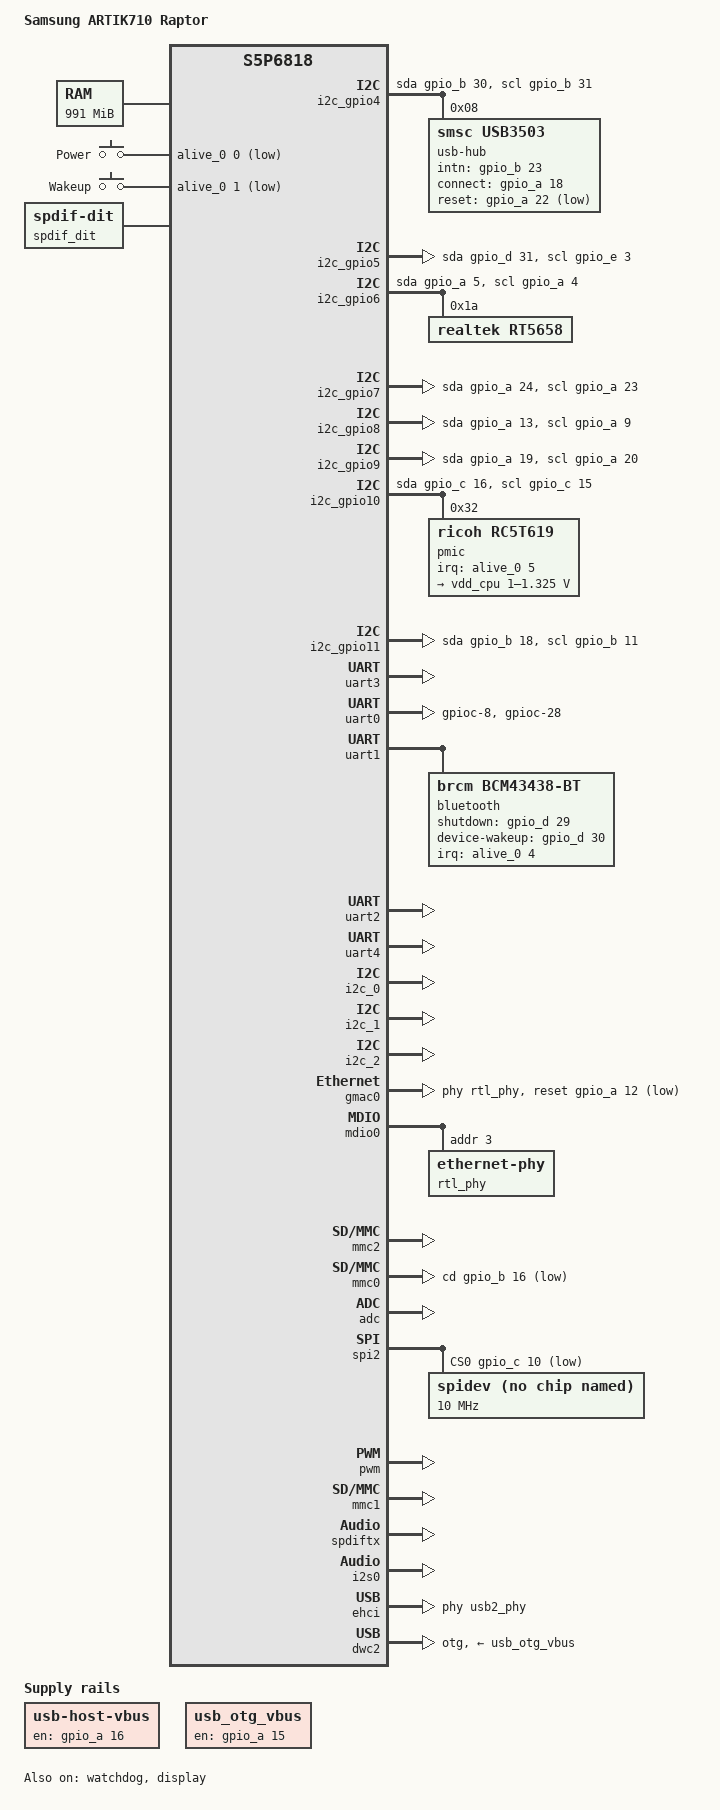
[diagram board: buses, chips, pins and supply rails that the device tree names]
// SPDX-License-Identifier: GPL-2.0
/*
 * Samsung ARTIK710 module on the Raptor carrier (ARTIK 710 developer kit).
 *
 * Module: Nexell S5P6818, 1 GiB RAM, 4 GB eMMC, BCM43455 WiFi/BT, EM358x
 * Zigbee, NXE2000 PMIC. Stock boot chain: bl1, ATF BL31 (PSCI), U-Boot 2016.01.
 */

/dts-v1/;

/* OP-TEE shared memory; inside the range U-Boot reports as RAM. */
/memreserve/ 0x7de00000 0x00100000;

#include <dt-bindings/input/input.h>
#include <dt-bindings/thermal/thermal.h>
#include "s5p6818.dtsi"

/ {
	model = "Samsung ARTIK710 Raptor";
	compatible = "samsung,artik710-raptor", "samsung,artik710",
		     "nexell,s5p6818";

	aliases {
		serial0 = &uart0;	/* Zigbee */
		serial1 = &uart1;	/* Bluetooth */
		serial2 = &uart2;
		serial3 = &uart3;	/* debug console */
		serial4 = &uart4;
		/* U-Boot writes the factory MAC (env ethaddr) into this node. */
		ethernet0 = &gmac0;
		/* Numbered as in the stock system: eMMC, SD slot, WiFi. */
		mmc0 = &mmc2;
		mmc1 = &mmc0;
		mmc2 = &mmc1;
		/* Also as in the stock system, which has no bus 3. */
		/* SPI2 is the one on the header: /dev/spidev2.0 as before */
		spi0 = &spi0;
		spi1 = &spi1;
		spi2 = &spi2;
		i2c0 = &i2c_0;
		i2c1 = &i2c_1;
		i2c2 = &i2c_2;
		i2c4 = &i2c_gpio4;
		i2c5 = &i2c_gpio5;
		i2c6 = &i2c_gpio6;
		i2c7 = &i2c_gpio7;
		i2c8 = &i2c_gpio8;
		i2c9 = &i2c_gpio9;
		i2c10 = &i2c_gpio10;
		i2c11 = &i2c_gpio11;
	};

	chosen {
		stdout-path = "serial3:115200n8";
	};

	memory@40000000 {
		device_type = "memory";
		reg = <0x0 0x40000000 0x0 0x3df00000>;
	};

	/*
	 * The CPU frequencies and voltages of the stock kernel. A chip has a
	 * level from 0 to 4 in its fuses, and the higher the level, the less
	 * voltage it needs: opp-microvolt is for level 0, opp-microvolt-asvN
	 * for level N. The driver s5p6818-cpufreq reads the level.
	 */
	cpu_opp_table: opp-table-cpu {
		compatible = "operating-points-v2";
		opp-shared;

		opp-400000000 {
			opp-hz = /bits/ 64 <400000000>;
			opp-microvolt = <1000000>;
			opp-microvolt-asv1 = <1000000>;
			opp-microvolt-asv2 = <1000000>;
			opp-microvolt-asv3 = <1000000>;
			opp-microvolt-asv4 = <1000000>;
			clock-latency-ns = <100000>;
		};

		opp-500000000 {
			opp-hz = /bits/ 64 <500000000>;
			opp-microvolt = <1025000>;
			opp-microvolt-asv1 = <1000000>;
			opp-microvolt-asv2 = <1000000>;
			opp-microvolt-asv3 = <1000000>;
			opp-microvolt-asv4 = <1000000>;
			clock-latency-ns = <100000>;
		};

		opp-600000000 {
			opp-hz = /bits/ 64 <600000000>;
			opp-microvolt = <1050000>;
			opp-microvolt-asv1 = <1000000>;
			opp-microvolt-asv2 = <1000000>;
			opp-microvolt-asv3 = <1000000>;
			opp-microvolt-asv4 = <1000000>;
			clock-latency-ns = <100000>;
		};

		opp-700000000 {
			opp-hz = /bits/ 64 <700000000>;
			opp-microvolt = <1075000>;
			opp-microvolt-asv1 = <1025000>;
			opp-microvolt-asv2 = <1000000>;
			opp-microvolt-asv3 = <1000000>;
			opp-microvolt-asv4 = <1000000>;
			clock-latency-ns = <100000>;
		};

		opp-800000000 {
			opp-hz = /bits/ 64 <800000000>;
			opp-microvolt = <1100000>;
			opp-microvolt-asv1 = <1050000>;
			opp-microvolt-asv2 = <1000000>;
			opp-microvolt-asv3 = <1000000>;
			opp-microvolt-asv4 = <1000000>;
			clock-latency-ns = <100000>;
			/* The boot loader runs at this one: set for a restart. */
			opp-suspend;
		};

		opp-900000000 {
			opp-hz = /bits/ 64 <900000000>;
			opp-microvolt = <1125000>;
			opp-microvolt-asv1 = <1075000>;
			opp-microvolt-asv2 = <1025000>;
			opp-microvolt-asv3 = <1000000>;
			opp-microvolt-asv4 = <1000000>;
			clock-latency-ns = <100000>;
		};

		opp-1000000000 {
			opp-hz = /bits/ 64 <1000000000>;
			opp-microvolt = <1150000>;
			opp-microvolt-asv1 = <1100000>;
			opp-microvolt-asv2 = <1050000>;
			opp-microvolt-asv3 = <1025000>;
			opp-microvolt-asv4 = <1000000>;
			clock-latency-ns = <100000>;
		};

		opp-1100000000 {
			opp-hz = /bits/ 64 <1100000000>;
			opp-microvolt = <1175000>;
			opp-microvolt-asv1 = <1125000>;
			opp-microvolt-asv2 = <1075000>;
			opp-microvolt-asv3 = <1050000>;
			opp-microvolt-asv4 = <1000000>;
			clock-latency-ns = <100000>;
		};

		opp-1200000000 {
			opp-hz = /bits/ 64 <1200000000>;
			opp-microvolt = <1225000>;
			opp-microvolt-asv1 = <1175000>;
			opp-microvolt-asv2 = <1125000>;
			opp-microvolt-asv3 = <1075000>;
			opp-microvolt-asv4 = <1025000>;
			clock-latency-ns = <100000>;
		};

		opp-1300000000 {
			opp-hz = /bits/ 64 <1300000000>;
			opp-microvolt = <1275000>;
			opp-microvolt-asv1 = <1225000>;
			opp-microvolt-asv2 = <1175000>;
			opp-microvolt-asv3 = <1125000>;
			opp-microvolt-asv4 = <1075000>;
			clock-latency-ns = <100000>;
		};

		opp-1400000000 {
			opp-hz = /bits/ 64 <1400000000>;
			opp-microvolt = <1325000>;
			opp-microvolt-asv1 = <1275000>;
			opp-microvolt-asv2 = <1225000>;
			opp-microvolt-asv3 = <1175000>;
			opp-microvolt-asv4 = <1125000>;
			clock-latency-ns = <100000>;
		};
	};

	/* The stock system sets this pin with the EHCI and leaves it high. */
	regulator-usb-host-vbus {
		compatible = "regulator-fixed";
		regulator-name = "usb-host-vbus";
		gpio = <&gpio_a 16 GPIO_ACTIVE_HIGH>;
		enable-active-high;
		regulator-always-on;
	};

	/* On while the OTG port is a host. */
	usb_otg_vbus: regulator-usb-otg-vbus {
		compatible = "regulator-fixed";
		regulator-name = "usb-otg-vbus";
		gpio = <&gpio_a 15 GPIO_ACTIVE_HIGH>;
		enable-active-high;
	};

	gpio-keys {
		compatible = "gpio-keys";
		pinctrl-names = "default";
		pinctrl-0 = <&key_pins>;

		key-power {
			label = "Power";
			gpios = <&alive_0 0 GPIO_ACTIVE_LOW>;
			linux,code = <KEY_POWER>;
			wakeup-source;
		};

		key-wakeup {
			label = "Wakeup";
			gpios = <&alive_0 1 GPIO_ACTIVE_LOW>;
			linux,code = <KEY_WAKEUP>;
			wakeup-source;
		};
	};

	/*
	 * The I2C buses on GPIOs, with the pins and the timing of the stock
	 * system. What is on them: 4 the USB hub, 6 the audio codec, 7 the
	 * HDMI DDC, 10 the PMIC; 5, 8 and 9 are for chips that this board does
	 * not have (RTC, fuel gauge, charger).
	 */
	i2c_gpio4: i2c-4 {
		compatible = "i2c-gpio";
		sda-gpios = <&gpio_b 30 (GPIO_ACTIVE_HIGH | GPIO_OPEN_DRAIN)>;
		scl-gpios = <&gpio_b 31 (GPIO_ACTIVE_HIGH | GPIO_OPEN_DRAIN)>;
		i2c-gpio,delay-us = <1>;
		#address-cells = <1>;
		#size-cells = <0>;

		/* USB3503 on the HSIC port; the USB sockets are behind it. */
		usb-hub@8 {
			compatible = "smsc,usb3503";
			reg = <0x08>;
			intn-gpios = <&gpio_b 23 GPIO_ACTIVE_HIGH>;
			connect-gpios = <&gpio_a 18 GPIO_ACTIVE_HIGH>;
			reset-gpios = <&gpio_a 22 GPIO_ACTIVE_LOW>;
			initial-mode = <1>;	/* hub */
		};
	};

	i2c_gpio5: i2c-5 {
		compatible = "i2c-gpio";
		sda-gpios = <&gpio_d 31 (GPIO_ACTIVE_HIGH | GPIO_OPEN_DRAIN)>;
		scl-gpios = <&gpio_e 3 (GPIO_ACTIVE_HIGH | GPIO_OPEN_DRAIN)>;
		i2c-gpio,delay-us = <100>;
		#address-cells = <1>;
		#size-cells = <0>;
	};

	i2c_gpio6: i2c-6 {
		compatible = "i2c-gpio";
		sda-gpios = <&gpio_a 5 (GPIO_ACTIVE_HIGH | GPIO_OPEN_DRAIN)>;
		scl-gpios = <&gpio_a 4 (GPIO_ACTIVE_HIGH | GPIO_OPEN_DRAIN)>;
		i2c-gpio,delay-us = <10>;
		#address-cells = <1>;
		#size-cells = <0>;

		/*
		 * ALC5658, as the stock system has it. Untested: on the board
		 * that this file was written with, no chip answers here, in
		 * the stock system either.
		 */
		rt5658: audio-codec@1a {
			compatible = "realtek,rt5658";
			reg = <0x1a>;
			#sound-dai-cells = <0>;
		};
	};

	i2c_gpio7: i2c-7 {
		compatible = "i2c-gpio";
		sda-gpios = <&gpio_a 24 (GPIO_ACTIVE_HIGH | GPIO_OPEN_DRAIN)>;
		scl-gpios = <&gpio_a 23 (GPIO_ACTIVE_HIGH | GPIO_OPEN_DRAIN)>;
		i2c-gpio,delay-us = <100>;
		#address-cells = <1>;
		#size-cells = <0>;
	};

	i2c_gpio8: i2c-8 {
		compatible = "i2c-gpio";
		sda-gpios = <&gpio_a 13 (GPIO_ACTIVE_HIGH | GPIO_OPEN_DRAIN)>;
		scl-gpios = <&gpio_a 9 (GPIO_ACTIVE_HIGH | GPIO_OPEN_DRAIN)>;
		i2c-gpio,delay-us = <1>;
		#address-cells = <1>;
		#size-cells = <0>;
	};

	i2c_gpio9: i2c-9 {
		compatible = "i2c-gpio";
		sda-gpios = <&gpio_a 19 (GPIO_ACTIVE_HIGH | GPIO_OPEN_DRAIN)>;
		scl-gpios = <&gpio_a 20 (GPIO_ACTIVE_HIGH | GPIO_OPEN_DRAIN)>;
		i2c-gpio,delay-us = <1>;
		#address-cells = <1>;
		#size-cells = <0>;
	};

	i2c_gpio10: i2c-10 {
		compatible = "i2c-gpio";
		sda-gpios = <&gpio_c 16 (GPIO_ACTIVE_HIGH | GPIO_OPEN_DRAIN)>;
		scl-gpios = <&gpio_c 15 (GPIO_ACTIVE_HIGH | GPIO_OPEN_DRAIN)>;
		i2c-gpio,delay-us = <1>;
		#address-cells = <1>;
		#size-cells = <0>;

		/*
		 * NXE2000: the registers of the Ricoh RC5T619. Only the rail
		 * of the CPUs is described, for the frequency scaling: the
		 * boot loader switches all rails on, and with the voltages
		 * that the stock system has.
		 */
		pmic@32 {
			compatible = "ricoh,rc5t619";
			reg = <0x32>;
			interrupt-parent = <&alive_0>;
			interrupts = <5 IRQ_TYPE_LEVEL_LOW>;
			pinctrl-names = "default";
			pinctrl-0 = <&pmic_irq_pin>;
			system-power-controller;

			regulators {
				vdd_cpu: DCDC1 {
					regulator-name = "vdd_cpu";
					/* the lowest and the highest voltage of the table */
					regulator-min-microvolt = <1000000>;
					regulator-max-microvolt = <1325000>;
					/* the stock kernel waits this long after the largest step */
					regulator-settling-time-up-us = <102>;
					regulator-always-on;
					regulator-boot-on;
				};
			};
		};
	};

	i2c_gpio11: i2c-11 {
		compatible = "i2c-gpio";
		sda-gpios = <&gpio_b 18 (GPIO_ACTIVE_HIGH | GPIO_OPEN_DRAIN)>;
		scl-gpios = <&gpio_b 11 (GPIO_ACTIVE_HIGH | GPIO_OPEN_DRAIN)>;
		i2c-gpio,delay-us = <1>;
		#address-cells = <1>;
		#size-cells = <0>;
	};

	/* Sound over HDMI: the S/PDIF transmitter feeds the HDMI block. */
	spdif_dit: spdif-dit {
		compatible = "linux,spdif-dit";
		#sound-dai-cells = <0>;
	};

	sound-hdmi {
		compatible = "simple-audio-card";
		simple-audio-card,name = "S5P6818-HDMI";

		simple-audio-card,cpu {
			sound-dai = <&spdiftx>;
		};

		simple-audio-card,codec {
			sound-dai = <&spdif_dit>;
		};
	};

	/*
	 * The audio jacks: I2S0 and the codec. A card of its own, so that the
	 * sound over HDMI does not depend on the codec.
	 */
	sound-codec {
		compatible = "simple-audio-card";
		simple-audio-card,name = "ARTIK710-RT5658";
		simple-audio-card,format = "i2s";
		simple-audio-card,mclk-fs = <256>;
		simple-audio-card,bitclock-master = <&codec_cpu>;
		simple-audio-card,frame-master = <&codec_cpu>;
		simple-audio-card,widgets = "Headphone", "Out Jack",
					    "Microphone", "In Jack";
		simple-audio-card,routing = "Out Jack", "HPOL",
					    "Out Jack", "HPOR",
					    "IN2P", "In Jack";

		codec_cpu: simple-audio-card,cpu {
			sound-dai = <&i2s0 0>;
		};

		simple-audio-card,codec {
			sound-dai = <&rt5658>;
		};
	};
};

/* PLL1 is the clock of all eight CPUs. */
&cpu0 {
	clocks = <&clock_pll 1>;
	operating-points-v2 = <&cpu_opp_table>;
	cpu-supply = <&vdd_cpu>;
	#cooling-cells = <2>;
};

&cpu1 {
	clocks = <&clock_pll 1>;
	operating-points-v2 = <&cpu_opp_table>;
	cpu-supply = <&vdd_cpu>;
	#cooling-cells = <2>;
};

&cpu2 {
	clocks = <&clock_pll 1>;
	operating-points-v2 = <&cpu_opp_table>;
	cpu-supply = <&vdd_cpu>;
	#cooling-cells = <2>;
};

&cpu3 {
	clocks = <&clock_pll 1>;
	operating-points-v2 = <&cpu_opp_table>;
	cpu-supply = <&vdd_cpu>;
	#cooling-cells = <2>;
};

&cpu4 {
	clocks = <&clock_pll 1>;
	operating-points-v2 = <&cpu_opp_table>;
	cpu-supply = <&vdd_cpu>;
	#cooling-cells = <2>;
};

&cpu5 {
	clocks = <&clock_pll 1>;
	operating-points-v2 = <&cpu_opp_table>;
	cpu-supply = <&vdd_cpu>;
	#cooling-cells = <2>;
};

&cpu6 {
	clocks = <&clock_pll 1>;
	operating-points-v2 = <&cpu_opp_table>;
	cpu-supply = <&vdd_cpu>;
	#cooling-cells = <2>;
};

&cpu7 {
	clocks = <&clock_pll 1>;
	operating-points-v2 = <&cpu_opp_table>;
	cpu-supply = <&vdd_cpu>;
	#cooling-cells = <2>;
};

/* Slower CPUs at the passive trip, which is at 80 C. */
&cpu_thermal {
	cooling-maps {
		map0 {
			trip = <&cpu_alert>;
			cooling-device = <&cpu0 THERMAL_NO_LIMIT THERMAL_NO_LIMIT>;
		};
	};
};

&pinctrl_0 {
	/* Both keys pull the pin to ground. */
	key_pins: key-pins {
		nexell,pins = "alive-0", "alive-1";
		nexell,pin-function = <0>;
		nexell,pin-pull = <1>;
		nexell,pin-strength = <0>;
	};

	pmic_irq_pin: pmic-irq-pin {
		nexell,pins = "alive-5";
		nexell,pin-function = <0>;
		nexell,pin-pull = <1>;
		nexell,pin-strength = <0>;
	};

	/*
	 * Reset (low) and boot mode (low at reset: boot loader) of the Zigbee
	 * chip. Inputs with a pull-up, so the chip runs and both lines stay
	 * free for gpioset.
	 */
	zb_reset_pin: zb-reset-pin {
		nexell,pins = "gpioc-8";
		nexell,pin-function = <1>;	/* GPIO */
		nexell,pin-pull = <1>;
		nexell,pin-strength = <0>;
	};

	zb_boot_pin: zb-boot-pin {
		nexell,pins = "gpioc-28";
		nexell,pin-function = <0>;	/* GPIO */
		nexell,pin-pull = <1>;
		nexell,pin-strength = <0>;
	};
};

/*
 * U-Boot runs the console from a 50 MHz clock. 51.2 MHz (PLL2 / 12) is close
 * enough that earlycon, which keeps U-Boot's divisor, stays readable after the
 * clock driver has retuned the generator.
 */
&uart3_clk {
	clock-frequency = <51200000>;
};

&uart3 {
	status = "okay";
};

/*
 * Zigbee (EM358x), 57600 baud with XON/XOFF. The SoC file has the clock that
 * U-Boot leaves on a console here.
 */
&uart0 {
	clocks = <&uart0_clk>, <&uart0_clk>;
	resets = <&nexell_reset 50>;	/* RESET_ID_UART0 */
	pinctrl-names = "default";
	pinctrl-0 = <&serial0_pins &zb_reset_pin &zb_boot_pin>;
	status = "okay";
};

/* As the other ports: from PLL2 and not from the PLL of the CPUs. */
&uart1_clk {
	clk-input = <0x1004>;
	clock-frequency = <147500000>;
};

/* Bluetooth of the BCM43455, at 3 Mbaud with RTS and CTS */
&uart1 {
	status = "okay";

	bluetooth {
		/* as the same chip on the Raspberry Pi 3B+ and 4 */
		compatible = "brcm,bcm43438-bt";
		shutdown-gpios = <&gpio_d 29 GPIO_ACTIVE_HIGH>;
		device-wakeup-gpios = <&gpio_d 30 GPIO_ACTIVE_HIGH>;
		interrupt-parent = <&alive_0>;
		interrupts = <4 IRQ_TYPE_EDGE_RISING>;
		interrupt-names = "host-wakeup";
		max-speed = <3000000>;
	};
};

&uart2 {
	pinctrl-names = "default";
	pinctrl-0 = <&serial2_pins>;
	status = "okay";
};

&uart4 {
	pinctrl-names = "default";
	pinctrl-0 = <&serial4_pins>;
	status = "okay";
};

&i2c_0 {
	status = "okay";
};

&i2c_1 {
	status = "okay";
};

&i2c_2 {
	status = "okay";
};

&gmac0 {
	phy-handle = <&rtl_phy>;
	snps,reset-gpio = <&gpio_a 12 GPIO_ACTIVE_LOW>;
	snps,reset-active-low;
	snps,reset-delays-us = <0 10000 30000>;
	status = "okay";
};

&mdio0 {
	rtl_phy: ethernet-phy@3 {	/* RTL8211E */
		reg = <3>;
	};
};

/* eMMC */
&mmc2 {
	compatible = "nexell,s5p6818-dw-mshc";
	clocks = <&sdhc2_clk>, <&sdhc2_clk>;
	resets = <&nexell_reset 41>;	/* RESET_ID_SDMMC2 */
	reset-names = "reset";
	pinctrl-names = "default";
	pinctrl-0 = <&sdmmc2_cclk &sdmmc2_cmd &sdmmc2_bus4>;
	status = "okay";
};

/* SD slot of the Raptor board */
&mmc0 {
	compatible = "nexell,s5p6818-dw-mshc";
	clocks = <&sdhc0_clk>, <&sdhc0_clk>;
	resets = <&nexell_reset 39>;	/* RESET_ID_SDMMC0 */
	reset-names = "reset";
	pinctrl-names = "default";
	pinctrl-0 = <&sdmmc0_cclk &sdmmc0_cmd &sdmmc0_bus4>;
	/delete-property/ broken-cd;
	cd-gpios = <&gpio_b 16 GPIO_ACTIVE_LOW>;
	status = "okay";
};

&watchdog {
	status = "okay";
};

&adc {
	status = "okay";
};

/* On the header, for user space */
&spi2 {
	cs-gpios = <&gpio_c 10 GPIO_ACTIVE_LOW>;
	status = "okay";

	spidev@0 {
		/* spidev wants the name of a chip: this one stands in */
		compatible = "rohm,dh2228fv";
		reg = <0>;
		spi-max-frequency = <10000000>;

		controller-data {
			samsung,spi-feedback-delay = <0>;
		};
	};
};

/*
 * Outputs 0 to 2, as in the stock system, which has the backlight of a panel
 * on 0 and the clock of the secure element (S3T9MF) on 1. The system timer is
 * another block.
 */
&pwm {
	/* PCLK: the counters were measured to run at 200 MHz / (prescaler + 1) */
	clocks = <&pwm_timer_clk>;
	pinctrl-names = "default";
	pinctrl-0 = <&pwm0_pins &pwm1_pins &pwm2_pins>;
	samsung,pwm-outputs = <0>, <1>, <2>;
	status = "okay";
};

/* WL_REG_ON of the BCM43455 is GPIOD28 on this module. */
&wifi_pwrseq {
	reset-gpios = <&gpio_d 28 GPIO_ACTIVE_LOW>;
};

/* PLL0 / 8 is the 100 MHz for a card clock of 50 MHz. Not the PLL of the CPUs. */
&sdhc1_clk {
	clk-input = <0x1005>;
};

/* WiFi of the BCM43455 */
&mmc1 {
	compatible = "nexell,s5p6818-dw-mshc";
	clocks = <&sdhc1_clk>, <&sdhc1_clk>;
	status = "okay";
};

/* The chip raises ALIVE3 when it has something for the host. */
&brcmf {
	interrupt-parent = <&alive_0>;
	interrupts = <3 IRQ_TYPE_LEVEL_HIGH>;
};

/*
 * HDMI. The boot loader leaves the display blocks in reset: the driver
 * releases the two at the end as well.
 */
&display {
	ddc-i2c-bus = <&i2c_gpio7>;
	enable-gpios = <&gpio_a 21 GPIO_ACTIVE_HIGH>;
	resets = <&nexell_reset 13>, <&nexell_reset 14>,
		 <&nexell_reset 15>, <&nexell_reset 16>,
		 <&nexell_reset 17>, <&nexell_reset 9>,
		 <&nexell_reset 10>;
	reset-names = "hdmi", "hdmi_video", "hdmi_spdif",
		      "hdmi_tmds", "hdmi_phy", "disp_top", "display";
	status = "okay";
};

&spdiftx {
	status = "okay";
};

&i2s0 {
	status = "okay";
};

/* No pull, as in the stock system */
&i2s0_bus {
	nexell,pin-pull = <2>;
};

/*
 * Port 1 has the host PHY, port 2 the HSIC PHY with the hub. The HSIC PHY
 * takes its clock from the OTG PHY, which therefore comes first.
 */
&ehci {
	phys = <&usb2_phy 0>, <&usb2_phy 1>, <&usb2_phy 2>;
	/delete-property/ phy-names;
};

&dwc2 {
	dr_mode = "otg";
	vbus-supply = <&usb_otg_vbus>;
};
